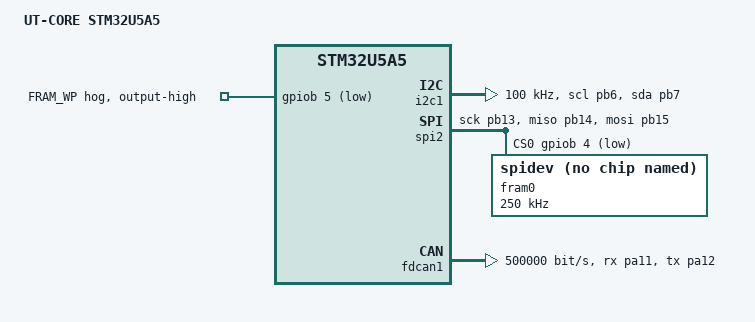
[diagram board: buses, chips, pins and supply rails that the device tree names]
/*
 * UT-CORE STM32U5A5xx board
 * Crystal-less, no USART console, no MCUboot
 */

/dts-v1/;

#include "ut_core-common.dtsi"
#include <zephyr/dt-bindings/spi/spi.h>

/ {
	model = "UT-CORE STM32U5A5";
	compatible = "utahtech,ut-core-stm32u5a5";

	#address-cells = <1>;
	#size-cells = <1>;

	chosen {
		/* No UART console on this board */
		zephyr,sram  = &sram0;
		zephyr,flash = &flash0;
	};

	aliases {
		led0   = &led0;
		led1   = &led1;
		led2   = &led2;

		fram0  = &fram0;

		pb10   = &pb10;
		pd2    = &pd2;

		canen  = &canengpio;
		canstb = &canstbgpio;
	};
};

/* =========================
 * GPIO hogs
 * ========================= */
&gpiob {
	fram_wp_hog {
		gpio-hog;
		gpios = <5 GPIO_ACTIVE_LOW>;   /* PB5 */
		output-high;                   /* logical HIGH => inactive (ACTIVE_LOW) */
		line-name = "FRAM_WP";
	};
};

/* =========================
 * Pin control
 * ========================= */
&pinctrl {
	status = "okay";

	/* I2C1 PB6/PB7 */
	i2c1_scl_pb6: i2c1_scl_pb6 {
		pinmux = <STM32_PINMUX('B', 6, AF4)>;
		drive-open-drain;
		bias-pull-up;
	};

	i2c1_sda_pb7: i2c1_sda_pb7 {
		pinmux = <STM32_PINMUX('B', 7, AF4)>;
		drive-open-drain;
		bias-pull-up;
	};

	/* SPI2 PB13/14/15 */
	spi2_sck_pb13: spi2_sck_pb13 {
		pinmux = <STM32_PINMUX('B', 13, AF5)>;
	};

	spi2_miso_pb14: spi2_miso_pb14 {
		pinmux = <STM32_PINMUX('B', 14, AF5)>;
	};

	spi2_mosi_pb15: spi2_mosi_pb15 {
		pinmux = <STM32_PINMUX('B', 15, AF5)>;
	};

	/* FDCAN1 PA11/PA12 */
	fdcan1_rx_pa11: fdcan1_rx_pa11 {
		pinmux = <STM32_PINMUX('A', 11, AF9)>;
	};

	fdcan1_tx_pa12: fdcan1_tx_pa12 {
		pinmux = <STM32_PINMUX('A', 12, AF9)>;
	};
};

/* =========================
 * I2C
 * ========================= */
&i2c1 {
	status = "okay";
	pinctrl-0 = <&i2c1_scl_pb6 &i2c1_sda_pb7>;
	pinctrl-names = "default";
	clock-frequency = <I2C_BITRATE_STANDARD>; /* 100 kHz */
};

/* =========================
 * SPI2 + FRAM spidev
 * ========================= */
&spi2 {
	status = "okay";
	pinctrl-0 = <&spi2_sck_pb13 &spi2_miso_pb14 &spi2_mosi_pb15>;
	pinctrl-names = "default";

	cs-gpios = <&gpiob 4 GPIO_ACTIVE_LOW>; /* CS1 = PB4 */

	fram0: fram@0 {
		compatible = "zephyr,spidev";
		reg = <0>;
		status = "okay";

		spi-max-frequency = <250000>;
		duplex = <SPI_FULL_DUPLEX>;
		frame-format = <SPI_FRAME_FORMAT_MOTOROLA>;
	};
};

/* =========================
 * Disable SWJ during bring-up
 * ========================= */
&swj_port {
	status = "disabled";
	/delete-property/ pinctrl-0;
	/delete-property/ pinctrl-1;
	/delete-property/ pinctrl-2;
	/delete-property/ pinctrl-names;
};

/* Not using USB during bring-up */
&usbotg_hs { status = "disabled"; };
&otghs_phy  { status = "disabled"; };

/* =========================
 * CLOCKING
 *  - MSIS input (nominally 16 MHz)
 *  - PLL1 makes 80 MHz SYSCLK + 80 MHz PLL1_Q for FDCAN
 * ========================= */

/*
 * Enable PLL1 to generate 80 MHz from 16 MHz MSIS:
 * Input = 16 MHz
 * div-m = 1   -> Ref = 16 MHz
 * mul-n = 10  -> VCO = 160 MHz
 * div-q = 2   -> PLL1_Q = 80 MHz (CAN kernel clock)
 * div-r = 2   -> PLL1_R = 80 MHz
 */
&pll1 {
	status = "okay";
	clocks = <&clk_msis>;

	div-m = <1>;
	mul-n = <10>;
	div-q = <2>;
	div-r = <2>;
	div-p = <2>;
};

/*
 * Switch System CPU clock to PLL1 (80 MHz) for stability.
 * Single &rcc block (no conflicting duplicates).
 */
&rcc {
	clocks = <&pll1>;
	clock-frequency = <DT_FREQ_M(80)>;

	ahb-prescaler  = <1>;
	apb1-prescaler = <1>;
	apb2-prescaler = <1>;
	apb3-prescaler = <1>;
};

/* =========================
 * FDCAN1
 * ========================= */
&fdcan1 {
	status = "okay";

	pinctrl-0 = <&fdcan1_rx_pa11 &fdcan1_tx_pa12>;
	pinctrl-names = "default";

	/*
	 * clocks[0] = bus/reg clock (APB1_2)
	 * clocks[1] = kernel clock source = PLL1_Q
	 */
	clocks = <&rcc STM32_CLOCK_BUS_APB1_2 0x00000200>,
	         <&rcc STM32_SRC_PLL1_Q FDCAN1_SEL(1)>;

	/* Optional but explicit */
	clk-divider = <1>;

	bitrate = <500000>;
	sample-point = <875>;

	/* REQUIRED for this Zephyr STM32U5 FDCAN driver */
	bosch,mram-cfg = <0x0 28 8 3 3 0 3 3>;
};
